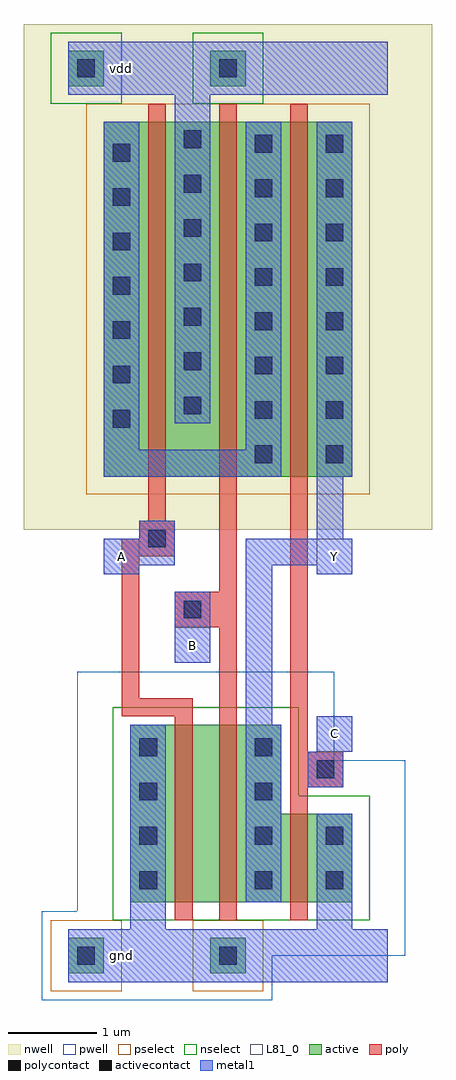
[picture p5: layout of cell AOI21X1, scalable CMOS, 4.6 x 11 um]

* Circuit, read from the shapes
.subckt AOI21X1 A B C Y gnd vdd
M1 n1 A gnd gnd nfet w=2u l=0.2u
M2 Y B n1 gnd nfet w=2u l=0.2u
M3 gnd C Y gnd nfet w=1u l=0.2u
M4 vdd A n2 vdd pfet w=4u l=0.2u
M5 n2 B vdd vdd pfet w=4u l=0.2u
M6 Y C n2 vdd pfet w=4u l=0.2u
.ends

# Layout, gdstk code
import gdstk
lib = gdstk.Library(unit=1e-6, precision=1e-09)
def R(c, l, rs):  # rectangles x0, y0, x1, y1
    for r in rs: c.add(gdstk.rectangle(r[:2], r[2:], *l))
def A(c, l, x, y, w, h, nx, ny, dx, dy):  # array of equal rectangles
    R(c, l, [(x+i*dx, y+j*dy, x+i*dx+w, y+j*dy+h) for i in range(nx) for j in range(ny)])
pwell = (41, 0)
nwell = (42, 0)
active = (43, 0)
pselect = (44, 0)
nselect = (45, 0)
poly = (46, 0)
polycontact = (47, 0)
activecontact = (48, 0)
metal1 = (49, 0)
L81_0 = (81, 0)

aoi21x1 = lib.new_cell('AOI21X1')
R(aoi21x1, pwell, [(-0.5,-0.5,2.1,0), (-0.5,0,3.6,0.5), (-0.1,0.5,3.6,2.2), (-0.1,2.2,2.8,3.2)])
R(aoi21x1, nwell, [(-0.7,4.8,3.9,10.5)])
R(aoi21x1, active, [(-0.2,-0.2,0.2,0.2), (1.4,-0.2,1.8,0.2), (0.5,0.6,3,1.6), (0.5,1.6,2.2,2.6), (0.2,5.4,3,9.4), (-0.2,9.8,0.2,10.2), (1.4,9.8,1.8,10.2)])
R(aoi21x1, pselect, [(-0.4,-0.4,0.4,0.4), (1.2,-0.4,2,0.4), (0,5.2,3.2,9.6)])
R(aoi21x1, nselect, [(0.3,0.4,3.2,1.8), (0.3,1.8,2.4,2.8), (-0.4,9.6,0.4,10.4), (1.2,9.6,2,10.4)])
R(aoi21x1, poly, [(1,0.4,1.2,2.7), (1.5,0.4,1.7,3.7), (2.3,0.4,2.5,1.9), (2.3,1.9,2.9,2.3), (2.3,2.3,2.5,9.6), (0.4,2.7,1.2,2.9), (0.4,2.9,0.6,4.5), (1,3.7,1.7,4.1), (1.5,4.1,1.7,9.6), (0.4,4.5,1,4.7), (0.6,4.7,1,4.9), (0.7,4.9,0.9,9.6)])
R(aoi21x1, polycontact, [(2.6,2,2.8,2.2), (1.1,3.8,1.3,4), (0.7,4.6,0.9,4.8)])
A(aoi21x1, activecontact, 0.6, 0.75, 0.2, 0.2, 1, 4, 0, 0.5)
A(aoi21x1, activecontact, 1.9, 0.75, 0.2, 0.2, 1, 4, 0, 0.5)
A(aoi21x1, activecontact, 1.9, 5.55, 0.2, 0.2, 1, 8, 0, 0.5)
A(aoi21x1, activecontact, 2.7, 5.55, 0.2, 0.2, 1, 8, 0, 0.5)
A(aoi21x1, activecontact, 0.3, 5.95, 0.2, 0.2, 1, 7, 0, 0.5)
A(aoi21x1, activecontact, 1.1, 6.1, 0.2, 0.2, 1, 7, 0, 0.5)
R(aoi21x1, activecontact, [(-0.1,-0.1,0.1,0.1), (1.5,-0.1,1.7,0.1), (2.7,0.75,2.9,0.95), (2.7,1.25,2.9,1.45), (-0.1,9.9,0.1,10.1), (1.5,9.9,1.7,10.1)])
R(aoi21x1, metal1, [(-0.2,-0.3,3.4,0.3), (0.5,0.3,0.9,2.6), (2.6,0.3,3,1.6), (1.8,0.6,2.2,2.6), (2.5,1.9,2.9,2.3), (2.6,2.3,3,2.7), (1.8,2.6,2.1,4.4), (1,3.3,1.4,4.1), (0.2,4.3,0.6,4.4), (2.6,4.3,3,4.4), (0.2,4.4,1,4.7), (1.8,4.4,3,4.7), (0.6,4.7,1,4.9), (2.6,4.7,2.9,5.4), (0.2,5.4,2.2,5.7), (2.6,5.4,3,9.4), (0.2,5.7,0.6,9.4), (1.8,5.7,2.2,9.4), (1,6,1.4,9.7), (-0.2,9.7,3.4,10.3)])
R(aoi21x1, L81_0, [(2.6,2.3,3,2.7), (1,3.3,1.4,3.7), (0.2,4.3,0.6,4.7), (2.6,4.3,3,4.7)])
aoi21x1.add(gdstk.Label('gnd', (0.4,0), layer=49, texttype=0))
aoi21x1.add(gdstk.Label('vdd', (0.4,10), layer=49, texttype=0))
aoi21x1.add(gdstk.Label('A', (0.4,4.5), layer=49, texttype=0))
aoi21x1.add(gdstk.Label('B', (1.2,3.5), layer=49, texttype=0))
aoi21x1.add(gdstk.Label('Y', (2.8,4.5), layer=49, texttype=0))
aoi21x1.add(gdstk.Label('C', (2.8,2.5), layer=49, texttype=0))

lib.write_gds('AOI21X1.gds')
